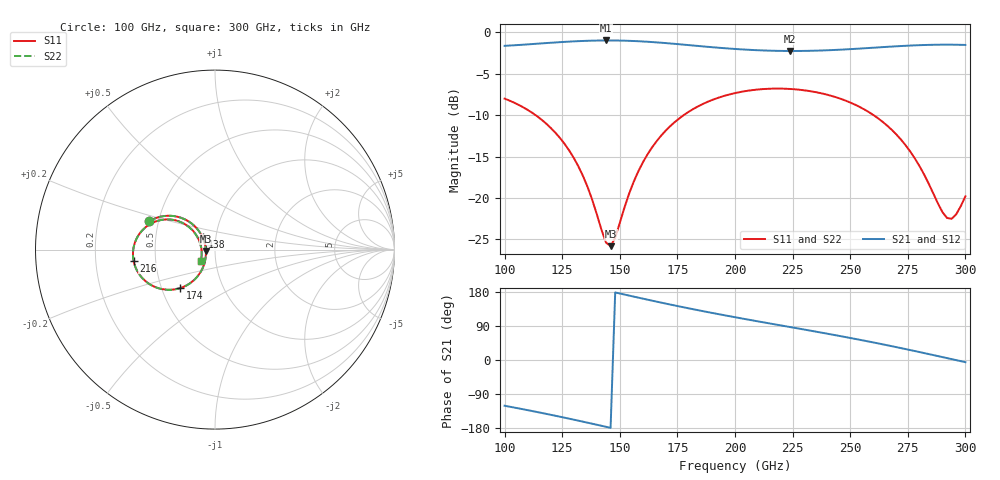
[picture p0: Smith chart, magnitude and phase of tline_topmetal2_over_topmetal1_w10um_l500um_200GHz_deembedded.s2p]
! Created with skrf 2.2.0 (http://scikit-rf.org).
# GHz S DB R 50.0
! Port[1] = P1
! Port[2] = P2
!freq dBS11 angS11 dBS21 angS21 dBS12 angS12 dBS22 angS22
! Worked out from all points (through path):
!   101 points, 100 GHz to 300 GHz, reference 50 ohm
!   highest |S21| = -0.97 dB at 144 GHz (marker M1); lowest = -2.2 dB at 224 GHz (marker M2)
!   group delay of S21, straight-line fit = 3.35 ps
!   lowest |S11| = -25.8 dB at 146 GHz (marker M3), VSWR 1.11, Z = 45.2 - j0.706 ohm
!   |S11| at or under -10 dB: 113.5 GHz to 177.7 GHz (64.16 GHz wide, 44.1 % of centre); 260.2 GHz to end of sweep
!   |S22| runs from -25.8 to -6.8 dB; largest |S21 - S12| = 1.5e-14
!   S11 on the Smith chart (normalised r, x): 100 GHz: 0.44, +0.17; 138 GHz: 0.86, +0.12; 174 GHz: 0.62, -0.29; 216 GHz: 0.37, -0.06; 300 GHz: 0.85, -0.11
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100  -7.99 156.7  -1.62 -120.7  -1.62 -120.7  -7.99 156.7
120  -11.52 137.5  -1.24 -144.6  -1.24 -144.6  -11.52 137.5
128  -14.24 131.8  -1.11 -154.8  -1.11 -154.8  -14.24 131.8
134  -17.32 131.0  -1.03 -162.8  -1.03 -162.8  -17.32 130.9
138  -20.19 135.3  -0.99 -168.1  -0.99 -168.1  -20.19 135.2
144  -25.37 167.1  -0.97 -176.3  -0.97 -176.3  -25.40 167.0
146  -25.81 -171.2  -0.97 -179.0  -0.97 -179.0  -25.85 -171.2
148  -24.78 -151.3  -0.97 178.3  -0.97 178.3  -24.81 -151.2
158  -16.79 -122.8  -1.06 164.7  -1.06 164.7  -16.80 -122.7
168  -12.44 -127.0  -1.24 151.4  -1.24 151.4  -12.44 -126.9
174  -10.79 -132.1  -1.38 143.7  -1.38 143.7  -10.79 -132.0
186  -8.64 -143.6  -1.68 129.0  -1.68 129.0  -8.64 -143.5
200  -7.32 -157.2  -1.99 112.9  -1.99 112.9  -7.32 -157.1
216  -6.79 -172.3  -2.20 95.5  -2.20 95.5  -6.78 -172.2
224  -6.83 -179.7  -2.24 86.9  -2.24 86.9  -6.82 -179.6
234  -7.16 171.1  -2.20 76.1  -2.20 76.1  -7.15 171.2
252  -8.71 154.8  -1.98 55.9  -1.98 55.9  -8.70 155.0
268  -11.75 142.2  -1.70 36.5  -1.70 36.5  -11.73 142.4
278  -15.18 139.0  -1.56 23.7  -1.56 23.7  -15.16 139.2
292  -22.40 175.9  -1.47 5.0  -1.47 5.0  -22.30 175.9
296  -21.96 -157.7  -1.48 -0.3  -1.48 -0.3  -21.89 -158.0
300  -19.80 -140.1  -1.51 -5.7  -1.51 -5.7  -19.76 -140.5
